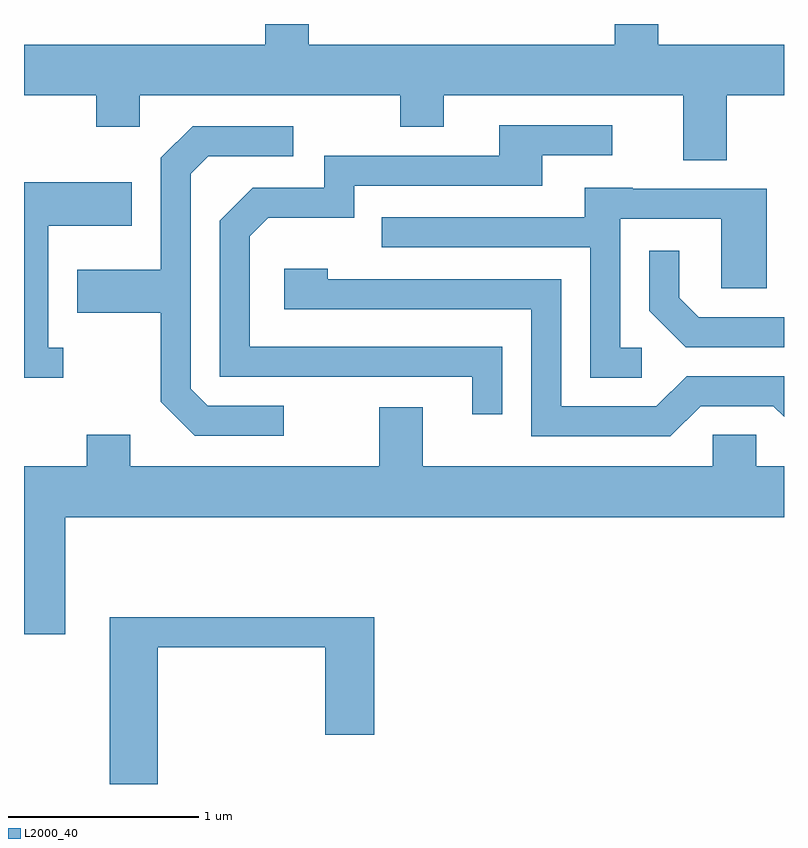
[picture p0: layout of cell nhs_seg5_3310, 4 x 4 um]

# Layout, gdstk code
import gdstk
lib = gdstk.Library(unit=1e-6, precision=1e-09)
def P(c, l, *ps):  # polygons
    for p in ps: c.add(gdstk.Polygon(p, *l))
L2000_40 = (2000, 40)

nhs_seg5_3310 = lib.new_cell('nhs_seg5_3310')
P(nhs_seg5_3310, L2000_40, [(287.309,1445.696),(287.611,1445.696),(287.611,1445.964),(286.949,1445.964),(286.949,1446.072),(286.721,1446.072),(286.721,1445.964),(285.109,1445.964),(285.109,1446.072),(284.881,1446.072),(284.881,1445.964),(283.611,1445.964),(283.611,1445.696),(283.991,1445.696),(283.991,1445.531),(284.219,1445.531),(284.219,1445.696),(285.591,1445.696),(285.591,1445.531),(285.819,1445.531),(285.819,1445.696),(287.081,1445.696),(287.081,1445.356),(287.309,1445.356)],
  [(286.129,1444.374),(284.799,1444.374),(284.799,1444.954),(284.897,1445.051),(285.349,1445.051),(285.349,1445.221),(286.339,1445.221),(286.339,1445.381),(286.708,1445.381),(286.708,1445.539),(286.111,1445.539),(286.111,1445.379),(285.191,1445.379),(285.191,1445.209),(284.814,1445.209),(284.641,1445.037),(284.641,1444.216),(285.971,1444.216),(285.971,1444.018),(286.129,1444.018)],
  [(284.978,1444.064),(284.577,1444.064),(284.489,1444.152),(284.489,1445.284),(284.582,1445.376),(285.028,1445.376),(285.028,1445.534),(284.499,1445.534),(284.331,1445.367),(284.331,1444.779),(283.891,1444.779),(283.891,1444.551),(284.331,1444.551),(284.331,1444.084),(284.509,1443.906),(284.978,1443.906)],
  [(283.818,1444.369),(283.739,1444.369),(283.739,1445.011),(284.179,1445.011),(284.179,1445.239),(283.611,1445.239),(283.611,1444.211),(283.818,1444.211)],
  [(286.863,1444.369),(286.749,1444.369),(286.749,1445.046),(287.281,1445.046),(287.281,1444.681),(287.519,1444.681),(287.519,1445.204),(286.815,1445.204),(286.815,1445.209),(286.561,1445.209),(286.561,1445.054),(285.493,1445.054),(285.493,1444.896),(286.591,1444.896),(286.591,1444.211),(286.863,1444.211)],
  [(287.611,1444.529),(287.162,1444.529),(287.059,1444.632),(287.059,1444.878),(286.901,1444.878),(286.901,1444.564),(287.094,1444.371),(287.611,1444.371)],
  [(287.172,1444.061),(287.554,1444.061),(287.611,1444.004),(287.611,1444.219),(287.099,1444.219),(286.939,1444.059),(286.439,1444.059),(286.439,1444.729),(285.209,1444.729),(285.209,1444.784),(284.981,1444.784),(284.981,1444.571),(286.281,1444.571),(286.281,1443.901),(287.012,1443.901)],
  [(283.829,1443.476),(287.611,1443.476),(287.611,1443.744),(287.464,1443.744),(287.464,1443.909),(287.236,1443.909),(287.236,1443.744),(285.709,1443.744),(285.709,1444.054),(285.481,1444.054),(285.481,1443.744),(284.169,1443.744),(284.169,1443.909),(283.941,1443.909),(283.941,1443.744),(283.611,1443.744),(283.611,1442.861),(283.829,1442.861)],
  [(284.314,1442.791),(285.196,1442.791),(285.196,1442.331),(285.454,1442.331),(285.454,1442.949),(284.061,1442.949),(284.061,1442.072),(284.314,1442.072)])

lib.write_gds('nhs_seg5_3310.gds')
